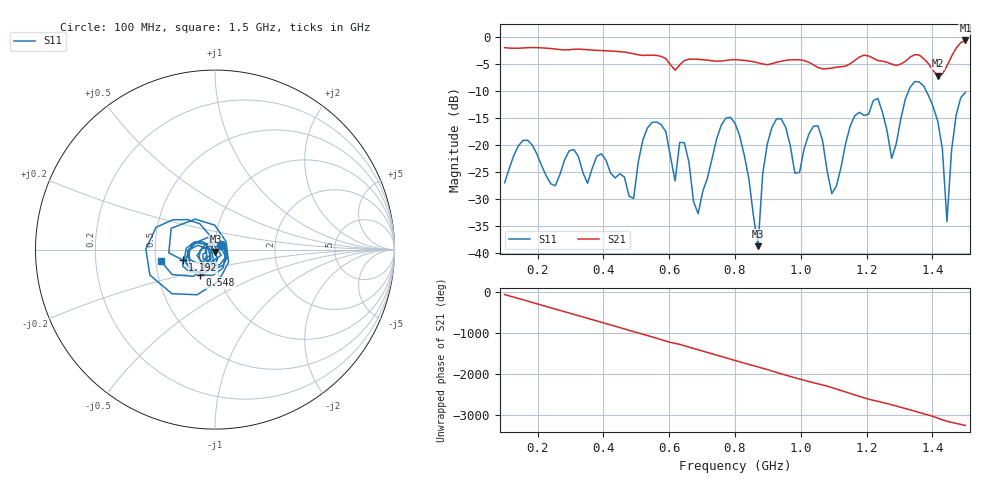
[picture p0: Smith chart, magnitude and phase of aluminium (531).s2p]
! NanoVNA-App
! Date: 2025-09-25 14:59:25
! Start: 100MHz Stop: 1,5GHz Points: 101
! S-Parameter data: F S11 S21 S12 S22
# Hz S RI R 50
!  Frequency  S11_Real  S11_Imag  S21_Real  S21_Imag  S12_Real  S12_Imag  S22_Real  S22_Imag
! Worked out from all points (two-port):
!   101 points, 100 MHz to 1.5 GHz, reference 50 ohm
!   highest |S21| = -0.58 dB at 1.5 GHz (marker M1); lowest = -7.1 dB at 1.416 GHz (marker M2)
!   |S21| within 3 dB of the highest: start of sweep to 577.3 MHz; 1.457 GHz to end of sweep (the widest 2 of 4)
!   lowest |S11| = -38.7 dB at 870 MHz (marker M3), VSWR 1.02, Z = 50.2 - j1.15 ohm
!   |S11| at or under -10 dB: start of sweep to 1.327 GHz; 1.381 GHz to end of sweep
!   S12 and S22 are empty: the file has one direction only
!   S11 on the Smith chart (normalised r, x): 100 MHz: 1.07, +0.06; 548 MHz: 0.82, -0.24; 1.192 GHz: 0.69, -0.08; 1.5 GHz: 0.53, -0.07
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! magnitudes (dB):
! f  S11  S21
! 100 MHz  -27.0  -1.9
! 156 MHz  -19.1  -2.0
! 338 MHz  -25.1  -2.2
! 492 MHz  -29.9  -3.1
! 548 MHz  -15.8  -3.3
! 576 MHz  -16.2  -3.5
! 646 MHz  -19.5  -4.3
! 688 MHz  -32.7  -4.1
! 800 MHz  -15.9  -4.2
! 870 MHz  -38.7  -4.7
! 912 MHz  -16.7  -4.9
! 982 MHz  -25.2  -4.2
! 1.038 GHz  -16.5  -5.1
! 1.094 GHz  -29.0  -5.7
! 1.192 GHz  -14.5  -3.3
! 1.234 GHz  -11.3  -4.3
! 1.276 GHz  -22.4  -5.0
! 1.346 GHz  -8.2  -3.2
! 1.416 GHz  -15.5  -7.1
! 1.444 GHz  -34.1  -5.3
! 1.472 GHz  -14.4  -2.0
! 1.5 GHz  -10.2  -0.6
